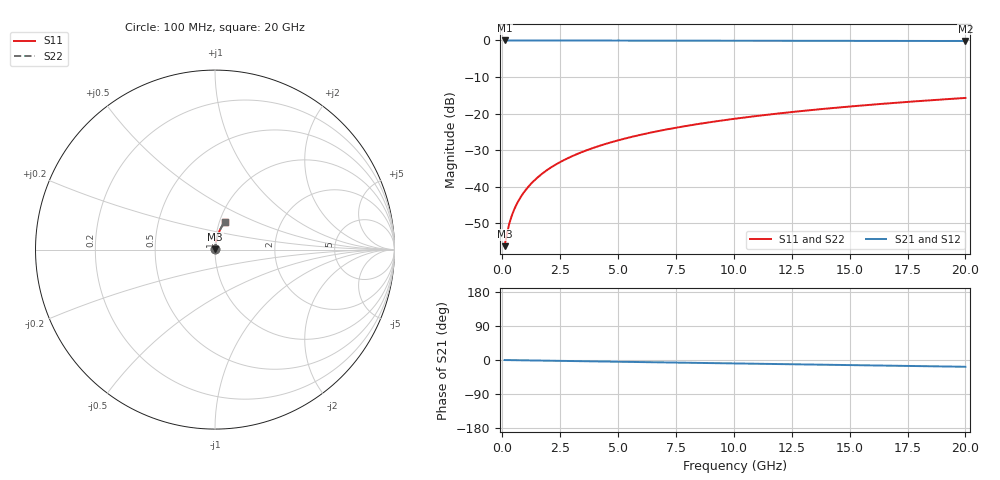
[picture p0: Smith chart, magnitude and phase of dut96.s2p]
! Touchstone file exported from HFSS 2026.1.0
!  File:  C:/ffzhzh/LocalFiles/Ansys_Project_Files/temp_train_BSMRDL_96_1782883315_8056.aedt
!  Generated:  01:23:10 PM Jul  1, 2026
!  Design:  BSMRDL
!  Project:  temp_train_BSMRDL_96_1782883315_8056
! Variables:
!  h_bsmrdl = 3.08um
!  h_ox = 20um
!  h_rdl = 5um
!  h_sub = 80um
!  h_tmrdl = 5um
!  h_tsv = 80um
!  h_via = 3um
!  l_bsmrdl = 228.27um
!  l_sub = 628.27um
!  l_tmrdl = 200um
!  m_sub = 200um
!  pitch = 53.06um
!  r_tsv = 6um
!  s_tmrdl = 10um
!  w_bsmrdl = 29.16um
!  w_sub = 500um
!  w_tmrdl = 12um
!  x_tsv_center1 = 206um
!  x_tsv_center2 = 463.43um
!  x_tsv_center3 = 675.43um
!  x_tsv_center4 = 932.86um
!  x_tsv_center5 = 1144.86um
!  x_tsv_center6 = 1402.29um
# GHz S MA R 50.000000
! Terminal data exported
! Port[1] = BSM_RDL1_1_T1
! Port[2] = BSM_RDL1_1_T2
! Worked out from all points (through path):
!   200 points, 100 MHz to 20 GHz, reference 50 ohm
!   highest |S21| = -0.01 dB at 100 MHz (marker M1); lowest = -0.2 dB at 20 GHz (marker M2)
!   group delay of S21, straight-line fit = 2.48 ps
!   lowest |S11| = -56.2 dB at 100 MHz (marker M3), VSWR 1.00, Z = 50.1 + j0.0976 ohm
!   |S11| at or under -10 dB: start of sweep to end of sweep
!   |S22| runs from -56.2 to -15.7 dB; largest |S21 - S12| = 4.5e-15
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0.1  0.001544 39.1  0.9988 -0.1  0.9988 -0.1  0.001544 39.1
! Gamma 0 0 0 0
! Port Impedance 50 0 50 0
0.2  0.002297 56.4  0.9987 -0.2  0.9987 -0.2  0.002297 56.4
0.3  0.00312 64.3  0.9987 -0.3  0.9987 -0.3  0.00312 64.3
0.4  0.00395 68.8  0.9986 -0.4  0.9986 -0.4  0.00395 68.8
0.5  0.004779 71.8  0.9985 -0.5  0.9985 -0.5  0.004779 71.8
0.6  0.005609 74.0  0.9985 -0.6  0.9985 -0.6  0.005609 74.0
0.8  0.007278 77.0  0.9984 -0.7  0.9984 -0.7  0.007278 77.0
1.1  0.009808 79.6  0.9984 -1.0  0.9984 -1.0  0.009808 79.6
1.3  0.01151 80.7  0.9983 -1.2  0.9983 -1.2  0.01151 80.7
1.6  0.01407 81.8  0.9983 -1.5  0.9983 -1.5  0.01407 81.8
2.1  0.01835 82.7  0.9981 -1.9  0.9981 -1.9  0.01835 82.7
2.7  0.02349 83.1  0.9979 -2.5  0.9979 -2.5  0.02349 83.1
3.5  0.03035 83.2  0.9976 -3.2  0.9976 -3.2  0.03035 83.2
4.2  0.03632 82.9  0.9973 -3.8  0.9973 -3.8  0.03632 82.9
5  0.04312 82.5  0.9969 -4.6  0.9969 -4.6  0.04312 82.5
5.9  0.05073 81.9  0.9963 -5.4  0.9963 -5.4  0.05073 81.9
6.8  0.05828 81.3  0.9957 -6.2  0.9957 -6.2  0.05828 81.3
8.3  0.07077 80.1  0.9946 -7.5  0.9946 -7.5  0.07077 80.1
10.1  0.08557 78.6  0.993 -9.1  0.993 -9.1  0.08557 78.6
13.4  0.1122 75.9  0.9898 -12.1  0.9898 -12.1  0.1122 75.9
16.7  0.1383 73.2  0.986 -15.0  0.986 -15.0  0.1383 73.2
20  0.1636 70.5  0.9817 -17.9  0.9817 -17.9  0.1636 70.4
